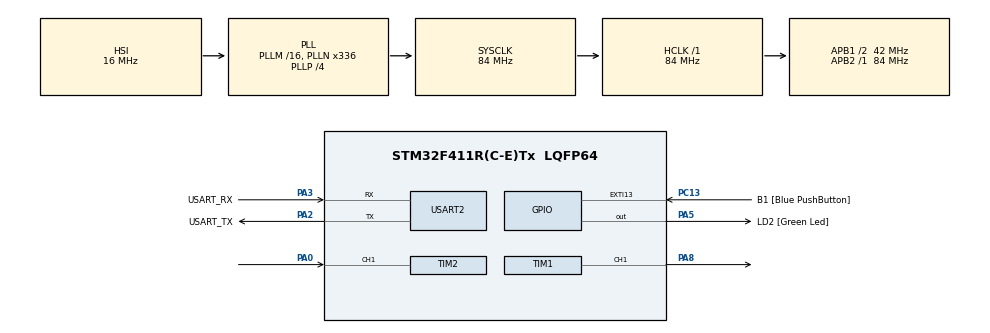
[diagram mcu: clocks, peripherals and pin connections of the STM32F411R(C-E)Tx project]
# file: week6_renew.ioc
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Dma.Request0=TIM2_CH1
Dma.TIM2_CH1.0.Direction=DMA_PERIPH_TO_MEMORY
Dma.TIM2_CH1.0.FIFOMode=DMA_FIFOMODE_DISABLE
Dma.TIM2_CH1.0.Instance=DMA1_Stream5
Dma.TIM2_CH1.0.MemDataAlignment=DMA_MDATAALIGN_WORD
Dma.TIM2_CH1.0.MemInc=DMA_MINC_ENABLE
Dma.TIM2_CH1.0.Mode=DMA_CIRCULAR
Dma.TIM2_CH1.0.PeriphDataAlignment=DMA_PDATAALIGN_WORD
Dma.TIM2_CH1.0.PeriphInc=DMA_PINC_DISABLE
Dma.TIM2_CH1.0.Priority=DMA_PRIORITY_LOW
Mcu.Family=STM32F4
Mcu.Name=STM32F411R(C-E)Tx
Mcu.Package=LQFP64
NVIC.DMA1_Stream5_IRQn=true\:0\:0\:false\:false\:true\:false\:true\:true
NVIC.PriorityGroup=NVIC_PRIORITYGROUP_0
PA0-WKUP.Signal=S_TIM2_CH1_ETR
PA13.GPIO_Label=TMS
PA13.Mode=Serial_Wire
PA13.Signal=SYS_JTMS-SWDIO
PA14.GPIO_Label=TCK
PA14.Mode=Serial_Wire
PA14.Signal=SYS_JTCK-SWCLK
PA2.GPIO_Label=USART_TX
PA2.Mode=Asynchronous
PA2.Signal=USART2_TX
PA3.GPIO_Label=USART_RX
PA3.Mode=Asynchronous
PA3.Signal=USART2_RX
PA5.GPIO_Label=LD2 [Green Led]
PA5.Signal=GPIO_Output
PA8.Signal=S_TIM1_CH1
PB3.GPIO_Label=SWO
PB3.Signal=SYS_JTDO-SWO
PC13-ANTI_TAMP.GPIO_Label=B1 [Blue PushButton]
PC13-ANTI_TAMP.GPIO_ModeDefaultEXTI=GPIO_MODE_IT_FALLING
PC13-ANTI_TAMP.Signal=GPXTI13
PC14-OSC32_IN.Mode=LSE-External-Oscillator
PC14-OSC32_IN.Signal=RCC_OSC32_IN
PC15-OSC32_OUT.Mode=LSE-External-Oscillator
PC15-OSC32_OUT.Signal=RCC_OSC32_OUT
PH0\ -\ OSC_IN.Mode=HSE-External-Clock-Source
PH0\ -\ OSC_IN.Signal=RCC_OSC_IN
PH1\ -\ OSC_OUT.Mode=HSE-External-Clock-Source
PH1\ -\ OSC_OUT.Signal=RCC_OSC_OUT
ProjectManager.HeapSize=0x200
ProjectManager.StackSize=0x400
ProjectManager.TargetToolchain=STM32CubeIDE
RCC.48MHZClocksFreq_Value=84000000
RCC.AHBFreq_Value=84000000
RCC.APB1CLKDivider=RCC_HCLK_DIV2
RCC.APB1Freq_Value=42000000
RCC.APB1TimFreq_Value=84000000
RCC.APB2Freq_Value=84000000
RCC.APB2TimFreq_Value=84000000
RCC.CortexFreq_Value=84000000
RCC.FLatency-AdvancedSettings=FLASH_LATENCY_2
RCC.HCLKFreq_Value=84000000
RCC.HSE_VALUE=8000000
RCC.HSI_VALUE=16000000
RCC.PLLN=336
RCC.PLLP=RCC_PLLP_DIV4
RCC.SYSCLKFreq_VALUE=84000000
RCC.SYSCLKSource=RCC_SYSCLKSOURCE_PLLCLK
RCC.VCOOutputFreq_Value=336000000
SH.S_TIM1_CH1.0=TIM1_CH1,PWM Generation1 CH1
SH.S_TIM2_CH1_ETR.0=TIM2_CH1,Input_Capture1_from_TI1
TIM1.Channel-PWM\ Generation1\ CH1=TIM_CHANNEL_1
TIM1.Period=99
TIM1.Prescaler=83
TIM1.Pulse-PWM\ Generation1\ CH1=10
TIM2.Channel-Input_Capture1_from_TI1=TIM_CHANNEL_1
TIM2.Prescaler=83
USART2.VirtualMode=VM_ASYNC
VP_TIM1_VS_ClockSourceINT.Mode=Internal
VP_TIM2_VS_ClockSourceINT.Mode=Internal
board=NUCLEO-F411RE

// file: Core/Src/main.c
/* USER CODE BEGIN Header */
/**
  ******************************************************************************
  * @file           : main.c
  * @brief          : Main program body
  ******************************************************************************
  * @attention
  *
  * Copyright (c) 2023 STMicroelectronics.
  * All rights reserved.
  *
  * This software is licensed under terms that can be found in the LICENSE file
  * in the root directory of this software component.
  * If no LICENSE file comes with this software, it is provided AS-IS.
  *
  ******************************************************************************
  */
/* USER CODE END Header */
#include "main.h"

/* USER CODE BEGIN Includes */
#define IC_BUFFER_SIZE 20
/* USER CODE END Includes */

TIM_HandleTypeDef htim1;
TIM_HandleTypeDef htim2;
DMA_HandleTypeDef hdma_tim2_ch1;

UART_HandleTypeDef huart2;

/* USER CODE BEGIN PV */
uint32_t InputCaptureBuffer[IC_BUFFER_SIZE];
float averageRisingedgePeriod;
float MotorSetDuty = 100;
float MotorReadRPM;
float MotorSetRPM;
int MotorControlEnable;
/* USER CODE END PV */

void SystemClock_Config(void);
static void MX_GPIO_Init(void);
static void MX_DMA_Init(void);
static void MX_USART2_UART_Init(void);
static void MX_TIM2_Init(void);
static void MX_TIM1_Init(void);
/* USER CODE BEGIN PFP */
float IC_Calc_Period();
/* USER CODE END PFP */

int main(void)
{

  /* MCU Configuration--------------------------------------------------------*/

  /* Reset of all peripherals, Initializes the Flash interface and the Systick. */
  HAL_Init();

  /* Configure the system clock */
  SystemClock_Config();

  /* Initialize all configured peripherals */
  MX_GPIO_Init();
  MX_DMA_Init();
  MX_USART2_UART_Init();
  MX_TIM2_Init();
  MX_TIM1_Init();
  /* USER CODE BEGIN 2 */
  HAL_TIM_Base_Start(&htim2);
  HAL_TIM_IC_Start_DMA(&htim2, TIM_CHANNEL_1, InputCaptureBuffer, IC_BUFFER_SIZE);

  HAL_TIM_Base_Start(&htim1);
  HAL_TIM_PWM_Start(&htim1, TIM_CHANNEL_1);

  /* USER CODE END 2 */

  /* Infinite loop */
  while (1)
  {

    /* USER CODE BEGIN 3 */
	  static uint32_t timestamp = 0;
	  if (HAL_GetTick()>= timestamp){
		  timestamp = HAL_GetTick()+5;
		  averageRisingedgePeriod = IC_Calc_Period();
		  MotorReadRPM = (60/(64*12*averageRisingedgePeriod *0.000001));

		  if (MotorControlEnable==1)
		  {
			  if( MotorSetRPM < MotorReadRPM)
			  {
				  MotorSetDuty -= 0.01;
			  }

			  if ( MotorSetDuty > 100)
			  {

				  MotorSetDuty = 100;
			  }

			  if( MotorSetRPM > MotorReadRPM)
			  {
			  	MotorSetDuty += 0.01;
			  }
			  if ( MotorSetDuty < 0)
			 {

				  MotorSetDuty = 0;
			 }
		  }

		  __HAL_TIM_SET_COMPARE(&htim1,TIM_CHANNEL_1,MotorSetDuty*10);
	  }

  }
  /* USER CODE END 3 */
}

void SystemClock_Config(void)
{
  RCC_OscInitTypeDef RCC_OscInitStruct = {0};
  RCC_ClkInitTypeDef RCC_ClkInitStruct = {0};

  /** Configure the main internal regulator output voltage
  */
  __HAL_RCC_PWR_CLK_ENABLE();
  __HAL_PWR_VOLTAGESCALING_CONFIG(PWR_REGULATOR_VOLTAGE_SCALE1);

  /** Initializes the RCC Oscillators according to the specified parameters
  * in the RCC_OscInitTypeDef structure.
  */
  RCC_OscInitStruct.OscillatorType = RCC_OSCILLATORTYPE_HSI;
  RCC_OscInitStruct.HSIState = RCC_HSI_ON;
  RCC_OscInitStruct.HSICalibrationValue = RCC_HSICALIBRATION_DEFAULT;
  RCC_OscInitStruct.PLL.PLLState = RCC_PLL_ON;
  RCC_OscInitStruct.PLL.PLLSource = RCC_PLLSOURCE_HSI;
  RCC_OscInitStruct.PLL.PLLM = 16;
  RCC_OscInitStruct.PLL.PLLN = 336;
  RCC_OscInitStruct.PLL.PLLP = RCC_PLLP_DIV4;
  RCC_OscInitStruct.PLL.PLLQ = 4;
  if (HAL_RCC_OscConfig(&RCC_OscInitStruct) != HAL_OK)
  {
    Error_Handler();
  }

  /** Initializes the CPU, AHB and APB buses clocks
  */
  RCC_ClkInitStruct.ClockType = RCC_CLOCKTYPE_HCLK|RCC_CLOCKTYPE_SYSCLK
                              |RCC_CLOCKTYPE_PCLK1|RCC_CLOCKTYPE_PCLK2;
  RCC_ClkInitStruct.SYSCLKSource = RCC_SYSCLKSOURCE_PLLCLK;
  RCC_ClkInitStruct.AHBCLKDivider = RCC_SYSCLK_DIV1;
  RCC_ClkInitStruct.APB1CLKDivider = RCC_HCLK_DIV2;
  RCC_ClkInitStruct.APB2CLKDivider = RCC_HCLK_DIV1;

  if (HAL_RCC_ClockConfig(&RCC_ClkInitStruct, FLASH_LATENCY_2) != HAL_OK)
  {
    Error_Handler();
  }
}

static void MX_TIM1_Init(void)
{

  TIM_ClockConfigTypeDef sClockSourceConfig = {0};
  TIM_MasterConfigTypeDef sMasterConfig = {0};
  TIM_OC_InitTypeDef sConfigOC = {0};
  TIM_BreakDeadTimeConfigTypeDef sBreakDeadTimeConfig = {0};

  htim1.Instance = TIM1;
  htim1.Init.Prescaler = 83;
  htim1.Init.CounterMode = TIM_COUNTERMODE_UP;
  htim1.Init.Period = 999;
  htim1.Init.ClockDivision = TIM_CLOCKDIVISION_DIV1;
  htim1.Init.RepetitionCounter = 0;
  htim1.Init.AutoReloadPreload = TIM_AUTORELOAD_PRELOAD_DISABLE;
  if (HAL_TIM_Base_Init(&htim1) != HAL_OK)
  {
    Error_Handler();
  }
  sClockSourceConfig.ClockSource = TIM_CLOCKSOURCE_INTERNAL;
  if (HAL_TIM_ConfigClockSource(&htim1, &sClockSourceConfig) != HAL_OK)
  {
    Error_Handler();
  }
  if (HAL_TIM_PWM_Init(&htim1) != HAL_OK)
  {
    Error_Handler();
  }
  sMasterConfig.MasterOutputTrigger = TIM_TRGO_RESET;
  sMasterConfig.MasterSlaveMode = TIM_MASTERSLAVEMODE_DISABLE;
  if (HAL_TIMEx_MasterConfigSynchronization(&htim1, &sMasterConfig) != HAL_OK)
  {
    Error_Handler();
  }
  sConfigOC.OCMode = TIM_OCMODE_PWM1;
  sConfigOC.Pulse = 100;
  sConfigOC.OCPolarity = TIM_OCPOLARITY_HIGH;
  sConfigOC.OCNPolarity = TIM_OCNPOLARITY_HIGH;
  sConfigOC.OCFastMode = TIM_OCFAST_DISABLE;
  sConfigOC.OCIdleState = TIM_OCIDLESTATE_RESET;
  sConfigOC.OCNIdleState = TIM_OCNIDLESTATE_RESET;
  if (HAL_TIM_PWM_ConfigChannel(&htim1, &sConfigOC, TIM_CHANNEL_1) != HAL_OK)
  {
    Error_Handler();
  }
  sBreakDeadTimeConfig.OffStateRunMode = TIM_OSSR_DISABLE;
  sBreakDeadTimeConfig.OffStateIDLEMode = TIM_OSSI_DISABLE;
  sBreakDeadTimeConfig.LockLevel = TIM_LOCKLEVEL_OFF;
  sBreakDeadTimeConfig.DeadTime = 0;
  sBreakDeadTimeConfig.BreakState = TIM_BREAK_DISABLE;
  sBreakDeadTimeConfig.BreakPolarity = TIM_BREAKPOLARITY_HIGH;
  sBreakDeadTimeConfig.AutomaticOutput = TIM_AUTOMATICOUTPUT_DISABLE;
  if (HAL_TIMEx_ConfigBreakDeadTime(&htim1, &sBreakDeadTimeConfig) != HAL_OK)
  {
    Error_Handler();
  }
  HAL_TIM_MspPostInit(&htim1);

}

static void MX_TIM2_Init(void)
{

  TIM_ClockConfigTypeDef sClockSourceConfig = {0};
  TIM_MasterConfigTypeDef sMasterConfig = {0};
  TIM_IC_InitTypeDef sConfigIC = {0};

  htim2.Instance = TIM2;
  htim2.Init.Prescaler = 83;
  htim2.Init.CounterMode = TIM_COUNTERMODE_UP;
  htim2.Init.Period = 4294967295;
  htim2.Init.ClockDivision = TIM_CLOCKDIVISION_DIV1;
  htim2.Init.AutoReloadPreload = TIM_AUTORELOAD_PRELOAD_DISABLE;
  if (HAL_TIM_Base_Init(&htim2) != HAL_OK)
  {
    Error_Handler();
  }
  sClockSourceConfig.ClockSource = TIM_CLOCKSOURCE_INTERNAL;
  if (HAL_TIM_ConfigClockSource(&htim2, &sClockSourceConfig) != HAL_OK)
  {
    Error_Handler();
  }
  if (HAL_TIM_IC_Init(&htim2) != HAL_OK)
  {
    Error_Handler();
  }
  sMasterConfig.MasterOutputTrigger = TIM_TRGO_RESET;
  sMasterConfig.MasterSlaveMode = TIM_MASTERSLAVEMODE_DISABLE;
  if (HAL_TIMEx_MasterConfigSynchronization(&htim2, &sMasterConfig) != HAL_OK)
  {
    Error_Handler();
  }
  sConfigIC.ICPolarity = TIM_INPUTCHANNELPOLARITY_RISING;
  sConfigIC.ICSelection = TIM_ICSELECTION_DIRECTTI;
  sConfigIC.ICPrescaler = TIM_ICPSC_DIV1;
  sConfigIC.ICFilter = 0;
  if (HAL_TIM_IC_ConfigChannel(&htim2, &sConfigIC, TIM_CHANNEL_1) != HAL_OK)
  {
    Error_Handler();
  }

}

static void MX_USART2_UART_Init(void)
{

  huart2.Instance = USART2;
  huart2.Init.BaudRate = 115200;
  huart2.Init.WordLength = UART_WORDLENGTH_8B;
  huart2.Init.StopBits = UART_STOPBITS_1;
  huart2.Init.Parity = UART_PARITY_NONE;
  huart2.Init.Mode = UART_MODE_TX_RX;
  huart2.Init.HwFlowCtl = UART_HWCONTROL_NONE;
  huart2.Init.OverSampling = UART_OVERSAMPLING_16;
  if (HAL_UART_Init(&huart2) != HAL_OK)
  {
    Error_Handler();
  }

}

static void MX_DMA_Init(void)
{

  /* DMA controller clock enable */
  __HAL_RCC_DMA1_CLK_ENABLE();

  /* DMA interrupt init */
  /* DMA1_Stream5_IRQn interrupt configuration */
  HAL_NVIC_SetPriority(DMA1_Stream5_IRQn, 0, 0);
  HAL_NVIC_EnableIRQ(DMA1_Stream5_IRQn);

}

static void MX_GPIO_Init(void)
{
  GPIO_InitTypeDef GPIO_InitStruct = {0};

  /* GPIO Ports Clock Enable */
  __HAL_RCC_GPIOC_CLK_ENABLE();
  __HAL_RCC_GPIOH_CLK_ENABLE();
  __HAL_RCC_GPIOA_CLK_ENABLE();
  __HAL_RCC_GPIOB_CLK_ENABLE();

  /*Configure GPIO pin Output Level */
  HAL_GPIO_WritePin(LD2_GPIO_Port, LD2_Pin, GPIO_PIN_RESET);

  /*Configure GPIO pin : B1_Pin */
  GPIO_InitStruct.Pin = B1_Pin;
  GPIO_InitStruct.Mode = GPIO_MODE_IT_FALLING;
  GPIO_InitStruct.Pull = GPIO_NOPULL;
  HAL_GPIO_Init(B1_GPIO_Port, &GPIO_InitStruct);

  /*Configure GPIO pin : LD2_Pin */
  GPIO_InitStruct.Pin = LD2_Pin;
  GPIO_InitStruct.Mode = GPIO_MODE_OUTPUT_PP;
  GPIO_InitStruct.Pull = GPIO_NOPULL;
  GPIO_InitStruct.Speed = GPIO_SPEED_FREQ_LOW;
  HAL_GPIO_Init(LD2_GPIO_Port, &GPIO_InitStruct);

}

/* USER CODE BEGIN 4 */
float IC_Calc_Period()
{
	uint32_t currentDMAPointer = IC_BUFFER_SIZE - __HAL_DMA_GET_COUNTER((htim2.hdma[1]));

	uint32_t lastValidDMAPointer = (currentDMAPointer-1 + IC_BUFFER_SIZE) % IC_BUFFER_SIZE;

	uint32_t i = (lastValidDMAPointer + IC_BUFFER_SIZE - 5) % IC_BUFFER_SIZE;

	int32_t sumdiff = 0;
	while (i != lastValidDMAPointer)
	{
		uint32_t firstCapture = InputCaptureBuffer[i];

		uint32_t NextCapture = InputCaptureBuffer[(i+1)%IC_BUFFER_SIZE];
		sumdiff += NextCapture - firstCapture;
		i = (i+1) % IC_BUFFER_SIZE;
	}
	return sumdiff / 5.0;
}
/* USER CODE END 4 */

void Error_Handler(void)
{
  __disable_irq();
  while (1)
  {
  }
}
